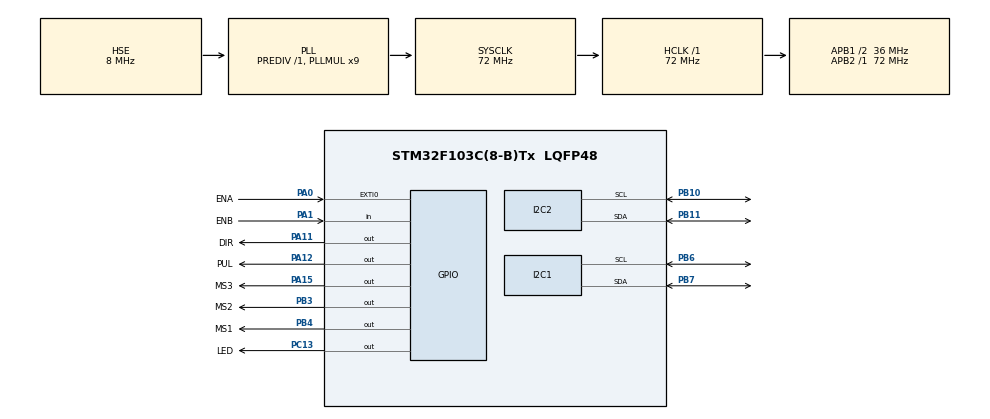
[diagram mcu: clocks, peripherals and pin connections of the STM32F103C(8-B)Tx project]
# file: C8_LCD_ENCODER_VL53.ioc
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I2C1.I2C_Mode=I2C_Fast
Mcu.Family=STM32F1
Mcu.Name=STM32F103C(8-B)Tx
Mcu.Package=LQFP48
NVIC.EXTI0_IRQn=true\:0\:0\:false\:false\:true\:true\:true\:true
NVIC.I2C1_ER_IRQn=true\:0\:0\:false\:false\:true\:true\:true\:true
NVIC.I2C1_EV_IRQn=true\:0\:0\:false\:false\:true\:true\:true\:true
NVIC.PriorityGroup=NVIC_PRIORITYGROUP_4
NVIC.TIM2_IRQn=true\:0\:0\:false\:false\:true\:true\:true\:true
NVIC.TIM3_IRQn=true\:1\:0\:true\:false\:true\:true\:true\:true
NVIC.TIM4_IRQn=true\:1\:0\:true\:false\:true\:true\:true\:true
PA0-WKUP.GPIO_Label=ENA
PA0-WKUP.GPIO_ModeDefaultEXTI=GPIO_MODE_IT_FALLING
PA0-WKUP.Signal=GPXTI0
PA1.GPIO_Label=ENB
PA1.Signal=GPIO_Input
PA11.GPIO_Label=DIR
PA11.Signal=GPIO_Output
PA12.GPIO_Label=PUL
PA12.Signal=GPIO_Output
PA13.Mode=Serial_Wire
PA13.Signal=SYS_JTMS-SWDIO
PA14.Mode=Serial_Wire
PA14.Signal=SYS_JTCK-SWCLK
PA15.GPIO_Label=MS3
PA15.Signal=GPIO_Output
PB10.Mode=I2C
PB10.Signal=I2C2_SCL
PB11.Mode=I2C
PB11.Signal=I2C2_SDA
PB3.GPIO_Label=MS2
PB3.Signal=GPIO_Output
PB4.GPIO_Label=MS1
PB4.Signal=GPIO_Output
PB6.Mode=I2C
PB6.Signal=I2C1_SCL
PB7.Mode=I2C
PB7.Signal=I2C1_SDA
PC13-TAMPER-RTC.GPIO_Label=LED
PC13-TAMPER-RTC.Signal=GPIO_Output
PD0-OSC_IN.Mode=HSE-External-Oscillator
PD0-OSC_IN.Signal=RCC_OSC_IN
PD1-OSC_OUT.Mode=HSE-External-Oscillator
PD1-OSC_OUT.Signal=RCC_OSC_OUT
ProjectManager.HeapSize=0x200
ProjectManager.StackSize=0x400
ProjectManager.TargetToolchain=MDK-ARM V5.32
RCC.AHBFreq_Value=72000000
RCC.APB1CLKDivider=RCC_HCLK_DIV2
RCC.APB1Freq_Value=36000000
RCC.APB1TimFreq_Value=72000000
RCC.APB2Freq_Value=72000000
RCC.APB2TimFreq_Value=72000000
RCC.HCLKFreq_Value=72000000
RCC.PLLMUL=RCC_PLL_MUL9
RCC.PLLSourceVirtual=RCC_PLLSOURCE_HSE
RCC.SYSCLKFreq_VALUE=72000000
RCC.SYSCLKSource=RCC_SYSCLKSOURCE_PLLCLK
RCC.USBFreq_Value=72000000
TIM2.Period=20000
TIM2.Prescaler=720-1
TIM3.Period=20000-1
TIM3.Prescaler=72-1
TIM4.Period=6667-1
TIM4.Prescaler=72-1
VP_TIM2_VS_ClockSourceINT.Mode=Internal
VP_TIM3_VS_ClockSourceINT.Mode=Internal
VP_TIM4_VS_ClockSourceINT.Mode=Internal
board=custom

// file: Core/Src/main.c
/* USER CODE BEGIN Header */
/**
  ******************************************************************************
  * @file           : main.c
  * @brief          : Main program body
  ******************************************************************************
  * @attention
  *
  * Copyright (c) 2023 STMicroelectronics.
  * All rights reserved.
  *
  * This software is licensed under terms that can be found in the LICENSE file
  * in the root directory of this software component.
  * If no LICENSE file comes with this software, it is provided AS-IS.
  *
  ******************************************************************************
  */
/* USER CODE END Header */
#include "main.h"

/* USER CODE BEGIN Includes */
#include "vl53l0x_api.h"
#include "i2c-lcd.h"
#include "vl53_user.h"
#include "simpleKalmanFilter.h"
/* USER CODE END Includes */

I2C_HandleTypeDef hi2c1;
I2C_HandleTypeDef hi2c2;

TIM_HandleTypeDef htim2;
TIM_HandleTypeDef htim3;
TIM_HandleTypeDef htim4;

/* USER CODE BEGIN PV */
CLCD_I2C_Name LCD1;
/* USER CODE END PV */

void SystemClock_Config(void);
static void MX_GPIO_Init(void);
static void MX_I2C1_Init(void);
static void MX_I2C2_Init(void);
static void MX_TIM3_Init(void);
static void MX_TIM4_Init(void);
static void MX_TIM2_Init(void);

/* USER CODE BEGIN 0 */

#define ERROR 40
#define ERROR_MEASURE 3
static uint64_t timeGetDistance , timeGetDistance1, timeLcd;
static float value, valueReal, valueReal2,distance ;
static uint8_t dataLcdLine3[20], dataLcdLine4[20];
static volatile uint64_t pulse, totalPulse;
static uint8_t checkDistance = 0;
volatile static uint16_t pulseEncoder = 0;
static uint8_t complete, run, completeProgram;
static float angleDegree;

void readDataVL53(void){
		value = getVL53SingleMode()	;
		valueReal = updateEstimate(value) ;
		valueReal = updateEstimate(valueReal);
		//valueReal = updateEstimate(valueReal);
}

void HAL_TIM_PeriodElapsedCallback(TIM_HandleTypeDef *htim)
{
		if(htim->Instance == htim3.Instance)
		{
				if( pulse != 0)
				{
						pulse--;;
						HAL_GPIO_TogglePin(PUL_GPIO_Port, PUL_Pin);
				}

		}
		else if(htim->Instance == htim2.Instance)
		{
			HAL_GPIO_TogglePin(LED_GPIO_Port, LED_Pin);
//			readDataVL53();
		}
}

/* USER CODE END 0 */

int main(void)
{

  /* MCU Configuration--------------------------------------------------------*/

  /* Reset of all peripherals, Initializes the Flash interface and the Systick. */
  HAL_Init();

  /* Configure the system clock */
  SystemClock_Config();

  /* Initialize all configured peripherals */
  MX_GPIO_Init();
  MX_I2C1_Init();
  MX_I2C2_Init();
  MX_TIM3_Init();
  MX_TIM4_Init();
  MX_TIM2_Init();
  /* USER CODE BEGIN 2 */
	HAL_TIM_Base_Start_IT(&htim2);
	HAL_TIM_Base_Start_IT(&htim4);
	HAL_GPIO_WritePin(MS1_GPIO_Port, MS1_Pin, 1);
	HAL_GPIO_WritePin(MS2_GPIO_Port, MS2_Pin, 1);
	HAL_GPIO_WritePin(MS3_GPIO_Port, MS3_Pin, 1);

	CLCD_I2C_Init(&LCD1,&hi2c2,0x4e,20,4);
	CLCD_I2C_Clear(&LCD1);
	KalmanInit(2,2,0.1);
	vl53_user_init();

	timeGetDistance = HAL_GetTick();
	checkDistance = 0;
	run = 0;
	completeProgram = 0;
	CLCD_I2C_SetCursor(&LCD1, 2, 0);
	CLCD_I2C_WriteString(&LCD1, "Do Do Ro Vo Lang");
	CLCD_I2C_SetCursor(&LCD1, 0,2);
	CLCD_I2C_WriteString(&LCD1,"Do Ro Vo Lang:");
	CLCD_I2C_SetCursor(&LCD1, 0,3);
	CLCD_I2C_WriteString(&LCD1,"Ket Qua : ");
  /* USER CODE END 2 */

  /* Infinite loop */
  /* USER CODE BEGIN WHILE */
  while (1)
  {
		readDataVL53();
		if(checkDistance == 0)
		{
				if(HAL_GetTick() - timeGetDistance > 6000)
				{
						distance = valueReal;
						checkDistance = 1;
				}
		}
		if(checkDistance == 1)
		{
				if(run == 0)
				{
						if((valueReal - distance >= ERROR_MEASURE) || (valueReal <= distance - ERROR_MEASURE))
						{
								HAL_GPIO_WritePin(DIR_GPIO_Port, DIR_Pin, 1);
								HAL_TIM_Base_Stop_IT(&htim3);
								pulse = 0;
								if(complete == 0)
								{
										complete = 1;
										timeGetDistance1 = HAL_GetTick();
								}
								if(HAL_GetTick() - timeGetDistance1 > 3000){
										run = 1;
										distance = valueReal;

								}
						}
						else {
								HAL_TIM_Base_Start_IT(&htim3);
								HAL_GPIO_WritePin(DIR_GPIO_Port, DIR_Pin, 0);
								pulse = 10;
						}
				}else if (run == 1) {

						if((valueReal - distance >= ERROR_MEASURE) || (valueReal <= distance - ERROR_MEASURE))
						{
								HAL_GPIO_WritePin(DIR_GPIO_Port, DIR_Pin, 0);
								HAL_TIM_Base_Stop_IT(&htim3);
								pulse = 0;
								checkDistance = 2;
								angleDegree = ((totalPulse - ERROR)* 360.0) / 6400;
								completeProgram = 1;
						}
						else {
								HAL_TIM_Base_Start_IT(&htim3);
								HAL_GPIO_WritePin(DIR_GPIO_Port, DIR_Pin, 1);
								if(pulse == 0)
								{
											pulse = 10;
											totalPulse += pulse;
								}
						}
				}

		}
		if(completeProgram == 1){
				if (HAL_GetTick() - timeLcd > 1000)
				{
						sprintf((char*)dataLcdLine4, "%.1f", angleDegree);
						CLCD_I2C_SetCursor(&LCD1, 16,2);
						CLCD_I2C_WriteString(&LCD1, (char*)dataLcdLine4);

						if(angleDegree <= 23 ){
								CLCD_I2C_SetCursor(&LCD1, 10,3);
								CLCD_I2C_WriteString(&LCD1,"Dat");
						}else {
								CLCD_I2C_SetCursor(&LCD1, 10,3);
								CLCD_I2C_WriteString(&LCD1,"Khong Dat");
						}

						memset(dataLcdLine3, 0, sizeof(dataLcdLine3));
						memset(dataLcdLine4, 0, sizeof(dataLcdLine4));
						timeLcd = HAL_GetTick();
				}
		}
    /* USER CODE END WHILE */

  }
}

void SystemClock_Config(void)
{
  RCC_OscInitTypeDef RCC_OscInitStruct = {0};
  RCC_ClkInitTypeDef RCC_ClkInitStruct = {0};

  /** Initializes the RCC Oscillators according to the specified parameters
  * in the RCC_OscInitTypeDef structure.
  */
  RCC_OscInitStruct.OscillatorType = RCC_OSCILLATORTYPE_HSE;
  RCC_OscInitStruct.HSEState = RCC_HSE_ON;
  RCC_OscInitStruct.HSEPredivValue = RCC_HSE_PREDIV_DIV1;
  RCC_OscInitStruct.HSIState = RCC_HSI_ON;
  RCC_OscInitStruct.PLL.PLLState = RCC_PLL_ON;
  RCC_OscInitStruct.PLL.PLLSource = RCC_PLLSOURCE_HSE;
  RCC_OscInitStruct.PLL.PLLMUL = RCC_PLL_MUL9;
  if (HAL_RCC_OscConfig(&RCC_OscInitStruct) != HAL_OK)
  {
    Error_Handler();
  }

  /** Initializes the CPU, AHB and APB buses clocks
  */
  RCC_ClkInitStruct.ClockType = RCC_CLOCKTYPE_HCLK|RCC_CLOCKTYPE_SYSCLK
                              |RCC_CLOCKTYPE_PCLK1|RCC_CLOCKTYPE_PCLK2;
  RCC_ClkInitStruct.SYSCLKSource = RCC_SYSCLKSOURCE_PLLCLK;
  RCC_ClkInitStruct.AHBCLKDivider = RCC_SYSCLK_DIV1;
  RCC_ClkInitStruct.APB1CLKDivider = RCC_HCLK_DIV2;
  RCC_ClkInitStruct.APB2CLKDivider = RCC_HCLK_DIV1;

  if (HAL_RCC_ClockConfig(&RCC_ClkInitStruct, FLASH_LATENCY_2) != HAL_OK)
  {
    Error_Handler();
  }
}

static void MX_I2C1_Init(void)
{

  hi2c1.Instance = I2C1;
  hi2c1.Init.ClockSpeed = 400000;
  hi2c1.Init.DutyCycle = I2C_DUTYCYCLE_2;
  hi2c1.Init.OwnAddress1 = 0;
  hi2c1.Init.AddressingMode = I2C_ADDRESSINGMODE_7BIT;
  hi2c1.Init.DualAddressMode = I2C_DUALADDRESS_DISABLE;
  hi2c1.Init.OwnAddress2 = 0;
  hi2c1.Init.GeneralCallMode = I2C_GENERALCALL_DISABLE;
  hi2c1.Init.NoStretchMode = I2C_NOSTRETCH_DISABLE;
  if (HAL_I2C_Init(&hi2c1) != HAL_OK)
  {
    Error_Handler();
  }

}

static void MX_I2C2_Init(void)
{

  hi2c2.Instance = I2C2;
  hi2c2.Init.ClockSpeed = 100000;
  hi2c2.Init.DutyCycle = I2C_DUTYCYCLE_2;
  hi2c2.Init.OwnAddress1 = 0;
  hi2c2.Init.AddressingMode = I2C_ADDRESSINGMODE_7BIT;
  hi2c2.Init.DualAddressMode = I2C_DUALADDRESS_DISABLE;
  hi2c2.Init.OwnAddress2 = 0;
  hi2c2.Init.GeneralCallMode = I2C_GENERALCALL_DISABLE;
  hi2c2.Init.NoStretchMode = I2C_NOSTRETCH_DISABLE;
  if (HAL_I2C_Init(&hi2c2) != HAL_OK)
  {
    Error_Handler();
  }

}

static void MX_TIM2_Init(void)
{

  TIM_ClockConfigTypeDef sClockSourceConfig = {0};
  TIM_MasterConfigTypeDef sMasterConfig = {0};

  htim2.Instance = TIM2;
  htim2.Init.Prescaler = 720-1;
  htim2.Init.CounterMode = TIM_COUNTERMODE_UP;
  htim2.Init.Period = 20000;
  htim2.Init.ClockDivision = TIM_CLOCKDIVISION_DIV1;
  htim2.Init.AutoReloadPreload = TIM_AUTORELOAD_PRELOAD_DISABLE;
  if (HAL_TIM_Base_Init(&htim2) != HAL_OK)
  {
    Error_Handler();
  }
  sClockSourceConfig.ClockSource = TIM_CLOCKSOURCE_INTERNAL;
  if (HAL_TIM_ConfigClockSource(&htim2, &sClockSourceConfig) != HAL_OK)
  {
    Error_Handler();
  }
  sMasterConfig.MasterOutputTrigger = TIM_TRGO_RESET;
  sMasterConfig.MasterSlaveMode = TIM_MASTERSLAVEMODE_DISABLE;
  if (HAL_TIMEx_MasterConfigSynchronization(&htim2, &sMasterConfig) != HAL_OK)
  {
    Error_Handler();
  }

}

static void MX_TIM3_Init(void)
{

  TIM_ClockConfigTypeDef sClockSourceConfig = {0};
  TIM_MasterConfigTypeDef sMasterConfig = {0};

  htim3.Instance = TIM3;
  htim3.Init.Prescaler = 72-1;
  htim3.Init.CounterMode = TIM_COUNTERMODE_UP;
  htim3.Init.Period = 20000-1;
  htim3.Init.ClockDivision = TIM_CLOCKDIVISION_DIV1;
  htim3.Init.AutoReloadPreload = TIM_AUTORELOAD_PRELOAD_DISABLE;
  if (HAL_TIM_Base_Init(&htim3) != HAL_OK)
  {
    Error_Handler();
  }
  sClockSourceConfig.ClockSource = TIM_CLOCKSOURCE_INTERNAL;
  if (HAL_TIM_ConfigClockSource(&htim3, &sClockSourceConfig) != HAL_OK)
  {
    Error_Handler();
  }
  sMasterConfig.MasterOutputTrigger = TIM_TRGO_RESET;
  sMasterConfig.MasterSlaveMode = TIM_MASTERSLAVEMODE_DISABLE;
  if (HAL_TIMEx_MasterConfigSynchronization(&htim3, &sMasterConfig) != HAL_OK)
  {
    Error_Handler();
  }

}

static void MX_TIM4_Init(void)
{

  TIM_ClockConfigTypeDef sClockSourceConfig = {0};
  TIM_MasterConfigTypeDef sMasterConfig = {0};

  htim4.Instance = TIM4;
  htim4.Init.Prescaler = 72-1;
  htim4.Init.CounterMode = TIM_COUNTERMODE_UP;
  htim4.Init.Period = 6667-1;
  htim4.Init.ClockDivision = TIM_CLOCKDIVISION_DIV1;
  htim4.Init.AutoReloadPreload = TIM_AUTORELOAD_PRELOAD_DISABLE;
  if (HAL_TIM_Base_Init(&htim4) != HAL_OK)
  {
    Error_Handler();
  }
  sClockSourceConfig.ClockSource = TIM_CLOCKSOURCE_INTERNAL;
  if (HAL_TIM_ConfigClockSource(&htim4, &sClockSourceConfig) != HAL_OK)
  {
    Error_Handler();
  }
  sMasterConfig.MasterOutputTrigger = TIM_TRGO_RESET;
  sMasterConfig.MasterSlaveMode = TIM_MASTERSLAVEMODE_DISABLE;
  if (HAL_TIMEx_MasterConfigSynchronization(&htim4, &sMasterConfig) != HAL_OK)
  {
    Error_Handler();
  }

}

static void MX_GPIO_Init(void)
{
  GPIO_InitTypeDef GPIO_InitStruct = {0};

  /* GPIO Ports Clock Enable */
  __HAL_RCC_GPIOC_CLK_ENABLE();
  __HAL_RCC_GPIOD_CLK_ENABLE();
  __HAL_RCC_GPIOA_CLK_ENABLE();
  __HAL_RCC_GPIOB_CLK_ENABLE();

  /*Configure GPIO pin Output Level */
  HAL_GPIO_WritePin(LED_GPIO_Port, LED_Pin, GPIO_PIN_RESET);

  /*Configure GPIO pin Output Level */
  HAL_GPIO_WritePin(GPIOA, DIR_Pin|PUL_Pin|MS3_Pin, GPIO_PIN_RESET);

  /*Configure GPIO pin Output Level */
  HAL_GPIO_WritePin(GPIOB, MS2_Pin|MS1_Pin, GPIO_PIN_RESET);

  /*Configure GPIO pin : LED_Pin */
  GPIO_InitStruct.Pin = LED_Pin;
  GPIO_InitStruct.Mode = GPIO_MODE_OUTPUT_PP;
  GPIO_InitStruct.Pull = GPIO_NOPULL;
  GPIO_InitStruct.Speed = GPIO_SPEED_FREQ_LOW;
  HAL_GPIO_Init(LED_GPIO_Port, &GPIO_InitStruct);

  /*Configure GPIO pin : ENA_Pin */
  GPIO_InitStruct.Pin = ENA_Pin;
  GPIO_InitStruct.Mode = GPIO_MODE_IT_FALLING;
  GPIO_InitStruct.Pull = GPIO_NOPULL;
  HAL_GPIO_Init(ENA_GPIO_Port, &GPIO_InitStruct);

  /*Configure GPIO pin : ENB_Pin */
  GPIO_InitStruct.Pin = ENB_Pin;
  GPIO_InitStruct.Mode = GPIO_MODE_INPUT;
  GPIO_InitStruct.Pull = GPIO_NOPULL;
  HAL_GPIO_Init(ENB_GPIO_Port, &GPIO_InitStruct);

  /*Configure GPIO pins : DIR_Pin PUL_Pin MS3_Pin */
  GPIO_InitStruct.Pin = DIR_Pin|PUL_Pin|MS3_Pin;
  GPIO_InitStruct.Mode = GPIO_MODE_OUTPUT_PP;
  GPIO_InitStruct.Pull = GPIO_NOPULL;
  GPIO_InitStruct.Speed = GPIO_SPEED_FREQ_LOW;
  HAL_GPIO_Init(GPIOA, &GPIO_InitStruct);

  /*Configure GPIO pins : MS2_Pin MS1_Pin */
  GPIO_InitStruct.Pin = MS2_Pin|MS1_Pin;
  GPIO_InitStruct.Mode = GPIO_MODE_OUTPUT_PP;
  GPIO_InitStruct.Pull = GPIO_NOPULL;
  GPIO_InitStruct.Speed = GPIO_SPEED_FREQ_LOW;
  HAL_GPIO_Init(GPIOB, &GPIO_InitStruct);

  /* EXTI interrupt init*/
  HAL_NVIC_SetPriority(EXTI0_IRQn, 0, 0);
  HAL_NVIC_EnableIRQ(EXTI0_IRQn);

}

void Error_Handler(void)
{
  __disable_irq();
  while (1)
  {
  }
}
